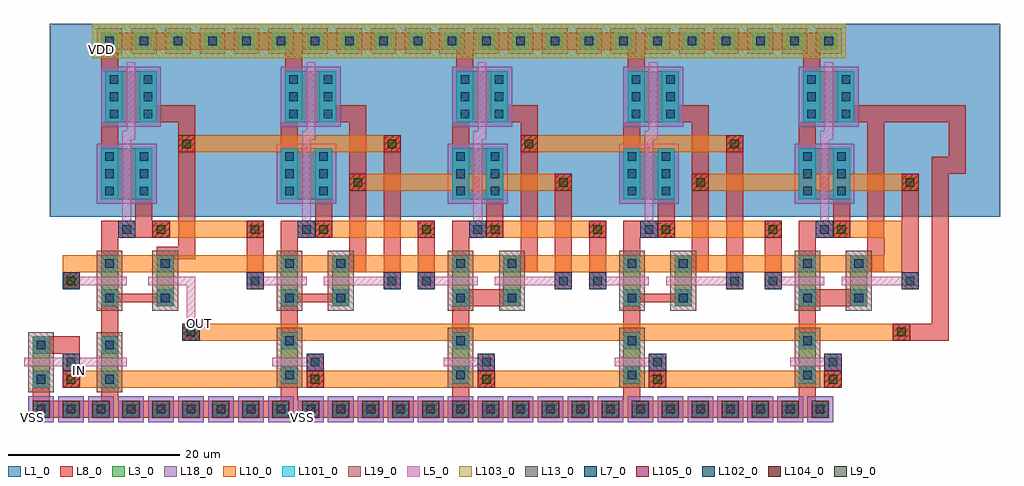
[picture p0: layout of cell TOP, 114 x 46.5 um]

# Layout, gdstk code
from math import pi, radians
import gdstk
lib = gdstk.Library(unit=1e-6, precision=1e-09)
def R(c, l, rs):  # rectangles x0, y0, x1, y1
    for r in rs: c.add(gdstk.rectangle(r[:2], r[2:], *l))
def A(c, l, x, y, w, h, nx, ny, dx, dy):  # array of equal rectangles
    R(c, l, [(x+i*dx, y+j*dy, x+i*dx+w, y+j*dy+h) for i in range(nx) for j in range(ny)])
L1_0 = (1, 0)
L3_0 = (3, 0)
L5_0 = (5, 0)
L7_0 = (7, 0)
L8_0 = (8, 0)
L9_0 = (9, 0)
L10_0 = (10, 0)
L13_0 = (13, 0)
L18_0 = (18, 0)
L19_0 = (19, 0)
L101_0 = (101, 0)
L102_0 = (102, 0)
L103_0 = (103, 0)
L104_0 = (104, 0)
L105_0 = (105, 0)

pcont = lib.new_cell('pcont')
R(pcont, L5_0, [(-1,-1,1,1)])
R(pcont, L7_0, [(-0.5,-0.5,0.5,0.5)])
R(pcont, L8_0, [(-1,-1,1,1)])
R(pcont, L13_0, [(-0.5,-0.5,0.5,0.5)])
R(pcont, L102_0, [(-1,-1,1,1)])
pcont.add(gdstk.Label('pcont', (0,0), layer=13, texttype=0))

via = lib.new_cell('Via')
R(via, L8_0, [(-1,-1,1,1)])
R(via, L9_0, [(-0.5,-0.5,0.5,0.5)])
R(via, L10_0, [(-1,-1,1,1)])
R(via, L13_0, [(-0.5,-0.5,0.5,0.5)])
R(via, L105_0, [(-1,-1,1,1)])
via.add(gdstk.Label('via', (0,0), layer=13, texttype=0))

dcont = lib.new_cell('dcont')
R(dcont, L3_0, [(-1,-1,1,1)])
R(dcont, L7_0, [(-0.5,-0.5,0.5,0.5)])
R(dcont, L8_0, [(-1,-1,1,1)])
R(dcont, L13_0, [(-0.5,-0.5,0.5,0.5)])
R(dcont, L101_0, [(-1,-1,1,1)])
dcont.add(gdstk.Label('dcont', (0,0), layer=13, texttype=0))

nsubcont = lib.new_cell('nsubcont')
R(nsubcont, L1_0, [(-2,-2,2,2)])
R(nsubcont, L19_0, [(-1.5,-1.5,1.5,1.5)])
R(nsubcont, L103_0, [(-2,-2,2,2)])
nsubcont.add(gdstk.Reference(dcont, (0,0)))
nsubcont.add(gdstk.Label('NScont', (0,0), layer=13, texttype=0))

psubcont = lib.new_cell('psubcont')
R(psubcont, L18_0, [(-1.5,-1.5,1.5,1.5)])
R(psubcont, L104_0, [(-1,-1,1,1)])
psubcont.add(gdstk.Reference(dcont, (0,0)))
psubcont.add(gdstk.Label('PScon', (0,0), layer=13, texttype=0))

top = lib.new_cell('TOP')
R(top, L1_0, [(-11,13,100,35.5)])
A(top, L3_0, 16, -4.5, 2, 2, 3, 1, 20, 0)
R(top, L3_0, [(-13,-5,-11,-3), (-5,-5,-3,-3), (76.5,-4.5,78.5,-2.5), (-5,4.5,-3,6.5), (1.5,4.5,3.5,6.5), (16,4.5,18,6.5), (16,4.5,18,6.5), (22,4.5,24,6.5), (22,4.5,24,6.5), (36,4.5,38,6.5), (36,4.5,38,6.5), (42,4.5,44,6.5), (42,4.5,44,6.5), (56,4.5,58,6.5), (56,4.5,58,6.5), (62,4.5,64,6.5), (62,4.5,64,6.5), (76.5,4.5,78.5,6.5), (76.5,4.5,78.5,6.5), (82.5,4.5,84.5,6.5), (82.5,4.5,84.5,6.5), (-5,15,1,21), (16,15,22,21), (16,15,22,21), (36,15,42,21), (36,15,42,21), (56,15,62,21), (56,15,62,21), (76.5,15,82.5,21), (76.5,15,82.5,21), (-4.5,24,1.5,30), (16.5,24,22.5,30), (16.5,24,22.5,30), (36.5,24,42.5,30), (36.5,24,42.5,30), (56.5,24,62.5,30), (56.5,24,62.5,30), (77,24,83,30), (77,24,83,30)])
R(top, L5_0, [(-14,-4.5,-9.5,-3.5), (-7.5,5,-2,6), (13.5,5,19,6), (13.5,5,19,6), (53.5,5,59,6), (53.5,5,59,6)])
A(top, L8_0, 16, -8.5, 2, 2, 3, 1, 20, 0)
A(top, L8_0, 16, -0.5, 2, 3, 3, 1, 20, 0)
A(top, L8_0, 24, 6.5, 2, 17.5, 3, 1, 20, 0)
A(top, L8_0, 20, 12.5, 2, 2.5, 3, 1, 20, 0)
A(top, L8_0, 16.5, 30, 2, 3, 3, 1, 20, 0)
R(top, L8_0, [(-11,-10.5,80,-8.5), (-13,-8.5,-11,-6.5), (76.5,-8.5,78.5,-6.5), (-11,-3,-7.5,-1), (-5,-1,-3,2.5), (76.5,-0.5,78.5,2.5), (38,2.5,42,4.5), (78.5,2.5,82.5,4.5), (-3.5,3,2,4), (17.5,3,23,4), (17.5,3,23,4), (57.5,3,63,4), (57.5,3,63,4), (12,6.5,14,12), (12,6.5,14,12), (24,6.5,26,24), (28,6.5,30,20.5), (28,6.5,30,20.5), (32,6.5,34,10.5), (48,6.5,50,16), (52,6.5,54,12), (52,6.5,54,12), (64,6.5,66,24), (68,6.5,70,20.5), (68,6.5,70,20.5), (72.5,6.5,74.5,10.5), (84.5,6.5,86.5,24), (88.5,6.5,90.5,16), (1.5,8,6,9.5), (-5,8.5,-3,12.5), (16,8.5,18,12.5), (16,8.5,18,12.5), (36,8.5,38,12.5), (36,8.5,38,12.5), (56,8.5,58,12.5), (56,8.5,58,12.5), (76.5,8.5,78.5,12.5), (76.5,8.5,78.5,12.5), (4,9.5,6,24), (-1,10.5,1,12.5), (20,10.5,22,12.5), (20,10.5,22,12.5), (40,10.5,42,12.5), (40,10.5,42,12.5), (60,10.5,62,12.5), (60,10.5,62,12.5), (80.5,10.5,82.5,12.5), (80.5,10.5,82.5,12.5), (-1,12.5,1,15), (20,12.5,22,15), (60,12.5,62,15), (80.5,12.5,82.5,15), (-5,21,-3,24), (16,21,18,24), (16,21,18,24), (36,21,38,24), (36,21,38,24), (56,21,58,24), (56,21,58,24), (76.5,21,78.5,24), (76.5,21,78.5,24), (1.5,24,6,26), (22.5,24,26,26), (22.5,24,26,26), (42.5,24,46,26), (42.5,24,46,26), (62.5,24,66,26), (62.5,24,66,26), (83,24,86.5,26), (83,24,86.5,26), (-5,30,-3,32.5), (77,30,79,33), (-3,32.5,81,34.5)])
R(top, L10_0, [(-7.5,-7,79.5,-5), (3,10.5,14,12.5), (22,10.5,32,12.5), (42,10.5,52,12.5), (62,10.5,72.5,12.5), (26,16,48,18), (66,16,88.5,18), (6,20.5,29.5,22.5), (46,20.5,68,22.5)])
R(top, L18_0, [(-5.5,14.5,1.5,21.5), (15.5,14.5,22.5,21.5), (15.5,14.5,22.5,21.5), (35.5,14.5,42.5,21.5), (35.5,14.5,42.5,21.5), (55.5,14.5,62.5,21.5), (55.5,14.5,62.5,21.5), (76,14.5,83,21.5), (76,14.5,83,21.5), (-5,23.5,2,30.5), (16,23.5,23,30.5), (16,23.5,23,30.5), (36,23.5,43,30.5), (36,23.5,43,30.5), (56,23.5,63,30.5), (56,23.5,63,30.5), (76.5,23.5,83.5,30.5), (76.5,23.5,83.5,30.5)])
A(top, L19_0, 15.5, -7, 3, 7, 3, 1, 20, 0)
R(top, L19_0, [(-13.5,-7.5,-10.5,-0.5), (-5.5,-7.5,-2.5,-0.5), (76,-7,79,0), (-5.5,2,-2.5,9), (1,2,4,9), (15.5,2,18.5,9), (15.5,2,18.5,9), (21.5,2,24.5,9), (21.5,2,24.5,9), (35.5,2,38.5,9), (35.5,2,38.5,9), (41.5,2,44.5,9), (41.5,2,44.5,9), (55.5,2,58.5,9), (55.5,2,58.5,9), (61.5,2,64.5,9), (61.5,2,64.5,9), (76,2,79,9), (76,2,79,9), (82,2,85,9), (82,2,85,9)])
top.add(gdstk.FlexPath([(86.5,25),(95,25),(95,19),(93,19),(93,-0.5),(87.5,-0.5)], 2, ends="flush", simple_path=True, layer=8, datatype=0))  # L8_0
top.add(gdstk.FlexPath([(-4,-6.5),(-4,-10)], 2, ends="flush", simple_path=True, layer=8, datatype=0))  # L8_0
top.add(gdstk.FlexPath([(88.5,7.5),(-8.5,7.5),(-8.5,4.5)], 2, ends="flush", simple_path=True, layer=10, datatype=0))  # L10_0
top.add(gdstk.FlexPath([(87.5,-0.5),(6.5,-0.5)], 2, ends="flush", simple_path=True, layer=10, datatype=0))  # L10_0
top.add(gdstk.FlexPath([(82.5,11.5),(87.5,11.5),(87.5,7.5)], 2, ends="flush", simple_path=True, layer=10, datatype=0))  # L10_0
top.add(gdstk.FlexPath([(0.5,5.5),(4.5,5.5),(4.5,5.5)], 1, ends="flush", simple_path=True, layer=5, datatype=0))  # L5_0
top.add(gdstk.FlexPath([(39.5,31),(39.5,22.5),(39,22.5),(39,22)], 1, ends="flush", simple_path=True, layer=5, datatype=0))  # L5_0
top.add(gdstk.FlexPath([(39.5,31),(39.5,22.5),(39,22.5),(39,22)], 1, ends="flush", simple_path=True, layer=5, datatype=0))  # L5_0
top.add(gdstk.FlexPath([(39,22),(39,12.5),(39,12.5),(39,12.5),(39,12.5)], 1, ends="flush", simple_path=True, layer=5, datatype=0))  # L5_0
top.add(gdstk.FlexPath([(41,5.5),(49,5.5),(49,5.5)], 1, ends="flush", simple_path=True, layer=5, datatype=0))  # L5_0
top.add(gdstk.FlexPath([(41,5.5),(49,5.5),(49,5.5)], 1, ends="flush", simple_path=True, layer=5, datatype=0))  # L5_0
top.add(gdstk.FlexPath([(55,-4),(59,-4),(59,-4)], 1, ends="flush", simple_path=True, layer=5, datatype=0))  # L5_0
top.add(gdstk.FlexPath([(39,5.5),(34.5,5.5),(34,5.5)], 1, ends="flush", simple_path=True, layer=5, datatype=0))  # L5_0
top.add(gdstk.FlexPath([(61,5.5),(69,5.5),(69,5.5)], 1, ends="flush", simple_path=True, layer=5, datatype=0))  # L5_0
top.add(gdstk.FlexPath([(59.5,31),(59.5,22.5),(59,22.5),(59,22)], 1, ends="flush", simple_path=True, layer=5, datatype=0))  # L5_0
top.add(gdstk.FlexPath([(59,22),(59,10.5),(59,10.5)], 1, ends="flush", simple_path=True, layer=5, datatype=0))  # L5_0
top.add(gdstk.FlexPath([(61,5.5),(69,5.5),(69,5.5)], 1, ends="flush", simple_path=True, layer=5, datatype=0))  # L5_0
top.add(gdstk.FlexPath([(59,22),(59,10.5),(59,10.5)], 1, ends="flush", simple_path=True, layer=5, datatype=0))  # L5_0
top.add(gdstk.FlexPath([(59.5,31),(59.5,22.5),(59,22.5),(59,22)], 1, ends="flush", simple_path=True, layer=5, datatype=0))  # L5_0
top.add(gdstk.FlexPath([(80,31),(80,22.5),(79.5,22.5),(79.5,22)], 1, ends="flush", simple_path=True, layer=5, datatype=0))  # L5_0
top.add(gdstk.FlexPath([(80,31),(80,22.5),(79.5,22.5),(79.5,22)], 1, ends="flush", simple_path=True, layer=5, datatype=0))  # L5_0
top.add(gdstk.FlexPath([(79.5,22),(79.5,12.5),(79.5,12.5),(79.5,12.5),(79.5,12.5)], 1, ends="flush", simple_path=True, layer=5, datatype=0))  # L5_0
top.add(gdstk.FlexPath([(81.5,5.5),(89.5,5.5),(89.5,5.5)], 1, ends="flush", simple_path=True, layer=5, datatype=0))  # L5_0
top.add(gdstk.FlexPath([(81.5,5.5),(89.5,5.5),(89.5,5.5)], 1, ends="flush", simple_path=True, layer=5, datatype=0))  # L5_0
top.add(gdstk.FlexPath([(79.5,5.5),(75,5.5),(74.5,5.5)], 1, ends="flush", simple_path=True, layer=5, datatype=0))  # L5_0
top.add(gdstk.FlexPath([(75.5,-4),(79.5,-4),(79.5,-4)], 1, ends="flush", simple_path=True, layer=5, datatype=0))  # L5_0
top.add(gdstk.FlexPath([(4.5,5.5),(5.5,5.5),(5.5,0.5)], 1, ends="flush", simple_path=True, layer=5, datatype=0))  # L5_0
top.add(gdstk.FlexPath([(-8,-4),(-2,-4)], 1, ends="flush", simple_path=True, layer=5, datatype=0))  # L5_0
top.add(gdstk.FlexPath([(15,-4),(19,-4),(19,-4)], 1, ends="flush", simple_path=True, layer=5, datatype=0))  # L5_0
top.add(gdstk.FlexPath([(35,-4),(39,-4),(39,-4)], 1, ends="flush", simple_path=True, layer=5, datatype=0))  # L5_0
top.add(gdstk.FlexPath([(21,5.5),(29,5.5),(29,5.5)], 1, ends="flush", simple_path=True, layer=5, datatype=0))  # L5_0
top.add(gdstk.FlexPath([(19.5,31),(19.5,22.5),(19,22.5),(19,22)], 1, ends="flush", simple_path=True, layer=5, datatype=0))  # L5_0
top.add(gdstk.FlexPath([(19,22),(19,10.5),(19,10.5)], 1, ends="flush", simple_path=True, layer=5, datatype=0))  # L5_0
top.add(gdstk.FlexPath([(21,5.5),(29,5.5),(29,5.5)], 1, ends="flush", simple_path=True, layer=5, datatype=0))  # L5_0
top.add(gdstk.FlexPath([(19,22),(19,10.5),(19,10.5)], 1, ends="flush", simple_path=True, layer=5, datatype=0))  # L5_0
top.add(gdstk.FlexPath([(19.5,31),(19.5,22.5),(19,22.5),(19,22)], 1, ends="flush", simple_path=True, layer=5, datatype=0))  # L5_0
top.add(gdstk.FlexPath([(-1.5,31),(-1.5,22.5),(-2,22.5),(-2,22)], 1, ends="flush", simple_path=True, layer=5, datatype=0))  # L5_0
top.add(gdstk.FlexPath([(-2,22),(-2,10.5),(-2,10.5)], 1, ends="flush", simple_path=True, layer=5, datatype=0))  # L5_0
top.add(gdstk.Reference(pcont, (-2,11.5), rotation=pi))
top.add(gdstk.Reference(via, (2,11.5), rotation=pi))
top.add(gdstk.Reference(via, (13,11.5), rotation=pi))
top.add(gdstk.Reference(pcont, (19,11.5), rotation=pi))
top.add(gdstk.Reference(pcont, (19,11.5), rotation=pi))
top.add(gdstk.Reference(via, (13,11.5), rotation=pi))
top.add(gdstk.Reference(pcont, (39,11.5), rotation=pi))
top.add(gdstk.Reference(pcont, (39,11.5), rotation=pi))
top.add(gdstk.Reference(via, (41,11.5), rotation=pi))
top.add(gdstk.Reference(via, (21,11.5), rotation=pi))
top.add(gdstk.Reference(via, (33,11.5), rotation=pi))
top.add(gdstk.Reference(via, (53,11.5), rotation=pi))
top.add(gdstk.Reference(pcont, (59,11.5), rotation=pi))
top.add(gdstk.Reference(pcont, (59,11.5), rotation=pi))
top.add(gdstk.Reference(via, (53,11.5), rotation=pi))
top.add(gdstk.Reference(via, (61,11.5), rotation=pi))
top.add(gdstk.Reference(pcont, (79.5,11.5), rotation=pi))
top.add(gdstk.Reference(pcont, (79.5,11.5), rotation=pi))
top.add(gdstk.Reference(via, (81.5,11.5), rotation=pi))
top.add(gdstk.Reference(via, (73.5,11.5), rotation=pi))
top.add(gdstk.Reference(nsubcont, (40,33.5), rotation=pi))
top.add(gdstk.Reference(dcont, (41.5,25), rotation=pi))
top.add(gdstk.Reference(dcont, (41.5,27), rotation=pi))
top.add(gdstk.Reference(dcont, (41.5,29), rotation=pi))
top.add(gdstk.Reference(dcont, (41,16), rotation=pi))
top.add(gdstk.Reference(dcont, (41,18), rotation=pi))
top.add(gdstk.Reference(via, (69,21.5), rotation=pi))
top.add(gdstk.Reference(dcont, (61.5,25), rotation=pi))
top.add(gdstk.Reference(dcont, (61.5,27), rotation=pi))
top.add(gdstk.Reference(dcont, (57.5,25), rotation=pi))
top.add(gdstk.Reference(dcont, (57.5,27), rotation=pi))
top.add(gdstk.Reference(dcont, (61.5,29), rotation=pi))
top.add(gdstk.Reference(dcont, (57.5,29), rotation=pi))
top.add(gdstk.Reference(dcont, (41,20), rotation=pi))
top.add(gdstk.Reference(dcont, (61,16), rotation=pi))
top.add(gdstk.Reference(dcont, (61,18), rotation=pi))
top.add(gdstk.Reference(dcont, (57,16), rotation=pi))
top.add(gdstk.Reference(dcont, (57,18), rotation=pi))
top.add(gdstk.Reference(dcont, (61,20), rotation=pi))
top.add(gdstk.Reference(dcont, (57,20), rotation=pi))
top.add(gdstk.Reference(dcont, (57,20), rotation=pi))
top.add(gdstk.Reference(dcont, (61,20), rotation=pi))
top.add(gdstk.Reference(dcont, (57,18), rotation=pi))
top.add(gdstk.Reference(dcont, (57,16), rotation=pi))
top.add(gdstk.Reference(dcont, (61,18), rotation=pi))
top.add(gdstk.Reference(dcont, (61,16), rotation=pi))
top.add(gdstk.Reference(dcont, (41,20), rotation=pi))
top.add(gdstk.Reference(dcont, (57.5,29), rotation=pi))
top.add(gdstk.Reference(dcont, (61.5,29), rotation=pi))
top.add(gdstk.Reference(dcont, (57.5,27), rotation=pi))
top.add(gdstk.Reference(dcont, (57.5,25), rotation=pi))
top.add(gdstk.Reference(dcont, (61.5,27), rotation=pi))
top.add(gdstk.Reference(dcont, (61.5,25), rotation=pi))
top.add(gdstk.Reference(via, (69,21.5), rotation=pi))
top.add(gdstk.Reference(dcont, (41,18), rotation=pi))
top.add(gdstk.Reference(dcont, (41,16), rotation=pi))
top.add(gdstk.Reference(via, (65,17), rotation=pi))
top.add(gdstk.Reference(via, (45,21.5), rotation=pi))
top.add(gdstk.Reference(via, (89.5,17), rotation=pi))
top.add(gdstk.Reference(dcont, (82,25), rotation=pi))
top.add(gdstk.Reference(dcont, (82,27), rotation=pi))
top.add(gdstk.Reference(dcont, (78,25), rotation=pi))
top.add(gdstk.Reference(dcont, (78,27), rotation=pi))
top.add(gdstk.Reference(dcont, (82,29), rotation=pi))
top.add(gdstk.Reference(dcont, (78,29), rotation=pi))
top.add(gdstk.Reference(dcont, (81.5,16), rotation=pi))
top.add(gdstk.Reference(dcont, (81.5,18), rotation=pi))
top.add(gdstk.Reference(dcont, (77.5,16), rotation=pi))
top.add(gdstk.Reference(dcont, (77.5,18), rotation=pi))
top.add(gdstk.Reference(dcont, (81.5,20), rotation=pi))
top.add(gdstk.Reference(dcont, (77.5,20), rotation=pi))
top.add(gdstk.Reference(dcont, (77.5,20), rotation=pi))
top.add(gdstk.Reference(dcont, (81.5,20), rotation=pi))
top.add(gdstk.Reference(dcont, (77.5,18), rotation=pi))
top.add(gdstk.Reference(dcont, (77.5,16), rotation=pi))
top.add(gdstk.Reference(dcont, (81.5,18), rotation=pi))
top.add(gdstk.Reference(dcont, (81.5,16), rotation=pi))
top.add(gdstk.Reference(dcont, (78,29), rotation=pi))
top.add(gdstk.Reference(dcont, (82,29), rotation=pi))
top.add(gdstk.Reference(dcont, (78,27), rotation=pi))
top.add(gdstk.Reference(dcont, (78,25), rotation=pi))
top.add(gdstk.Reference(dcont, (82,27), rotation=pi))
top.add(gdstk.Reference(dcont, (82,25), rotation=pi))
top.add(gdstk.Reference(via, (89.5,17), rotation=pi))
top.add(gdstk.Reference(dcont, (41.5,29), rotation=pi))
top.add(gdstk.Reference(dcont, (41.5,27), rotation=pi))
top.add(gdstk.Reference(dcont, (41.5,25), rotation=pi))
top.add(gdstk.Reference(via, (49,17), rotation=pi))
top.add(gdstk.Reference(via, (49,17), rotation=pi))
top.add(gdstk.Reference(nsubcont, (44,33.5), rotation=pi))
top.add(gdstk.Reference(nsubcont, (48,33.5), rotation=pi))
top.add(gdstk.Reference(nsubcont, (52,33.5), rotation=pi))
top.add(gdstk.Reference(nsubcont, (56,33.5), rotation=pi))
top.add(gdstk.Reference(nsubcont, (60,33.5), rotation=pi))
top.add(gdstk.Reference(nsubcont, (64,33.5), rotation=pi))
top.add(gdstk.Reference(nsubcont, (68,33.5), rotation=pi))
top.add(gdstk.Reference(nsubcont, (72,33.5), rotation=pi))
top.add(gdstk.Reference(nsubcont, (76,33.5), rotation=pi))
top.add(gdstk.Reference(nsubcont, (80,33.5), rotation=pi))
top.add(gdstk.Reference(dcont, (0,16), rotation=pi))
top.add(gdstk.Reference(nsubcont, (0,33.5), rotation=pi))
top.add(gdstk.Reference(nsubcont, (-4,33.5), rotation=pi))
top.add(gdstk.Reference(dcont, (-4,20), rotation=pi))
top.add(gdstk.Reference(dcont, (-3.5,29), rotation=pi))
top.add(gdstk.Reference(dcont, (37.5,25), rotation=pi))
top.add(gdstk.Reference(dcont, (37.5,27), rotation=pi))
top.add(gdstk.Reference(dcont, (0.5,29), rotation=pi))
top.add(gdstk.Reference(dcont, (37.5,29), rotation=pi))
top.add(gdstk.Reference(dcont, (-3.5,27), rotation=pi))
top.add(gdstk.Reference(dcont, (-3.5,25), rotation=pi))
top.add(gdstk.Reference(dcont, (37,16), rotation=pi))
top.add(gdstk.Reference(dcont, (37,18), rotation=pi))
top.add(gdstk.Reference(dcont, (0.5,27), rotation=pi))
top.add(gdstk.Reference(dcont, (37,20), rotation=pi))
top.add(gdstk.Reference(dcont, (37,20), rotation=pi))
top.add(gdstk.Reference(dcont, (0.5,25), rotation=pi))
top.add(gdstk.Reference(dcont, (37,18), rotation=pi))
top.add(gdstk.Reference(dcont, (37,16), rotation=pi))
top.add(gdstk.Reference(via, (5,21.5), rotation=pi))
top.add(gdstk.Reference(dcont, (0,20), rotation=pi))
top.add(gdstk.Reference(dcont, (37.5,29), rotation=pi))
top.add(gdstk.Reference(dcont, (-4,18), rotation=pi))
top.add(gdstk.Reference(dcont, (37.5,27), rotation=pi))
top.add(gdstk.Reference(dcont, (37.5,25), rotation=pi))
top.add(gdstk.Reference(via, (29,21.5), rotation=pi))
top.add(gdstk.Reference(dcont, (21.5,25), rotation=pi))
top.add(gdstk.Reference(dcont, (21.5,27), rotation=pi))
top.add(gdstk.Reference(dcont, (17.5,25), rotation=pi))
top.add(gdstk.Reference(dcont, (17.5,27), rotation=pi))
top.add(gdstk.Reference(dcont, (21.5,29), rotation=pi))
top.add(gdstk.Reference(dcont, (17.5,29), rotation=pi))
top.add(gdstk.Reference(dcont, (-4,16), rotation=pi))
top.add(gdstk.Reference(via, (25,17), rotation=pi))
top.add(gdstk.Reference(dcont, (21,16), rotation=pi))
top.add(gdstk.Reference(dcont, (21,18), rotation=pi))
top.add(gdstk.Reference(dcont, (17,16), rotation=pi))
top.add(gdstk.Reference(dcont, (17,18), rotation=pi))
top.add(gdstk.Reference(dcont, (21,20), rotation=pi))
top.add(gdstk.Reference(dcont, (17,20), rotation=pi))
top.add(gdstk.Reference(dcont, (17,20), rotation=pi))
top.add(gdstk.Reference(dcont, (21,20), rotation=pi))
top.add(gdstk.Reference(dcont, (17,18), rotation=pi))
top.add(gdstk.Reference(nsubcont, (4,33.5), rotation=pi))
top.add(gdstk.Reference(nsubcont, (8,33.5), rotation=pi))
top.add(gdstk.Reference(nsubcont, (12,33.5), rotation=pi))
top.add(gdstk.Reference(nsubcont, (16,33.5), rotation=pi))
top.add(gdstk.Reference(nsubcont, (20,33.5), rotation=pi))
top.add(gdstk.Reference(nsubcont, (24,33.5), rotation=pi))
top.add(gdstk.Reference(nsubcont, (28,33.5), rotation=pi))
top.add(gdstk.Reference(nsubcont, (32,33.5), rotation=pi))
top.add(gdstk.Reference(nsubcont, (36,33.5), rotation=pi))
top.add(gdstk.Reference(dcont, (17,16), rotation=pi))
top.add(gdstk.Reference(dcont, (21,18), rotation=pi))
top.add(gdstk.Reference(dcont, (21,16), rotation=pi))
top.add(gdstk.Reference(dcont, (0,18), rotation=pi))
top.add(gdstk.Reference(dcont, (17.5,29), rotation=pi))
top.add(gdstk.Reference(dcont, (21.5,29), rotation=pi))
top.add(gdstk.Reference(dcont, (17.5,27), rotation=pi))
top.add(gdstk.Reference(dcont, (17.5,25), rotation=pi))
top.add(gdstk.Reference(dcont, (21.5,27), rotation=pi))
top.add(gdstk.Reference(dcont, (21.5,25), rotation=pi))
top.add(gdstk.Reference(via, (29,21.5), rotation=pi))
top.add(gdstk.Reference(dcont, (37,-1.5), rotation=pi))
top.add(gdstk.Reference(dcont, (-12,-6), rotation=pi))
top.add(gdstk.Reference(dcont, (-12,-2), rotation=pi))
top.add(gdstk.Reference(pcont, (29,5.5), rotation=pi))
top.add(gdstk.Reference(pcont, (-8.5,-4), rotation=pi))
top.add(gdstk.Reference(pcont, (13,5.5), rotation=pi))
top.add(gdstk.Reference(dcont, (23,3.5), rotation=pi))
top.add(gdstk.Reference(dcont, (23,7.5), rotation=pi))
top.add(gdstk.Reference(dcont, (17,3.5), rotation=pi))
top.add(gdstk.Reference(dcont, (17,7.5), rotation=pi))
top.add(gdstk.Reference(dcont, (-4,7.5), rotation=pi))
top.add(gdstk.Reference(dcont, (-4,3.5), rotation=pi))
top.add(gdstk.Reference(via, (5.5,-0.5), rotation=pi))
top.add(gdstk.Reference(dcont, (17,7.5), rotation=pi))
top.add(gdstk.Reference(dcont, (17,3.5), rotation=pi))
top.add(gdstk.Reference(dcont, (23,7.5), rotation=pi))
top.add(gdstk.Reference(dcont, (23,3.5), rotation=pi))
top.add(gdstk.Reference(pcont, (13,5.5), rotation=pi))
top.add(gdstk.Reference(dcont, (2.5,7.5), rotation=pi))
top.add(gdstk.Reference(pcont, (29,5.5), rotation=pi))
top.add(gdstk.Reference(dcont, (2.5,3.5), rotation=pi))
top.add(gdstk.Reference(via, (20,-6), rotation=pi))
top.add(gdstk.Reference(dcont, (37,7.5), rotation=pi))
top.add(gdstk.Reference(dcont, (37,3.5), rotation=pi))
top.add(gdstk.Reference(pcont, (33,5.5), rotation=pi))
top.add(gdstk.Reference(pcont, (5.5,-0.5), rotation=pi))
top.add(gdstk.Reference(pcont, (-8.5,5.5), rotation=pi))
top.add(gdstk.Reference(via, (-8.5,5.5), rotation=pi))
top.add(gdstk.Reference(dcont, (-4,-6), rotation=pi))
top.add(gdstk.Reference(dcont, (-4,-2), rotation=pi))
top.add(gdstk.Reference(dcont, (17,-5.5), rotation=pi))
top.add(gdstk.Reference(dcont, (17,-1.5), rotation=pi))
top.add(gdstk.Reference(dcont, (37,3.5), rotation=pi))
top.add(gdstk.Reference(dcont, (37,7.5), rotation=pi))
top.add(gdstk.Reference(pcont, (20,-4), rotation=pi))
top.add(gdstk.Reference(via, (-8.5,-6), rotation=pi))
top.add(gdstk.Reference(dcont, (37,-5.5), rotation=pi))
top.add(gdstk.Reference(psubcont, (16,-9.5), rotation=pi))
top.add(gdstk.Reference(psubcont, (12.5,-9.5), rotation=pi))
top.add(gdstk.Reference(psubcont, (9,-9.5), rotation=pi))
top.add(gdstk.Reference(psubcont, (5.5,-9.5), rotation=pi))
top.add(gdstk.Reference(psubcont, (2,-9.5), rotation=pi))
top.add(gdstk.Reference(psubcont, (-1.5,-9.5), rotation=pi))
top.add(gdstk.Reference(psubcont, (-5,-9.5), rotation=pi))
top.add(gdstk.Reference(psubcont, (-8.5,-9.5), rotation=pi))
top.add(gdstk.Reference(psubcont, (-12,-9.5), rotation=pi))
top.add(gdstk.Reference(psubcont, (37,-9.5), rotation=pi))
top.add(gdstk.Reference(psubcont, (33.5,-9.5), rotation=pi))
top.add(gdstk.Reference(psubcont, (30,-9.5), rotation=pi))
top.add(gdstk.Reference(psubcont, (26.5,-9.5), rotation=pi))
top.add(gdstk.Reference(psubcont, (23,-9.5), rotation=pi))
top.add(gdstk.Reference(psubcont, (19.5,-9.5), rotation=pi))
top.add(gdstk.Reference(dcont, (83.5,3.5), rotation=pi))
top.add(gdstk.Reference(pcont, (89.5,5.5), rotation=pi))
top.add(gdstk.Reference(pcont, (73.5,5.5), rotation=pi))
top.add(gdstk.Reference(dcont, (57,3.5), rotation=pi))
top.add(gdstk.Reference(via, (88.5,-0.5), rotation=pi))
top.add(gdstk.Reference(dcont, (57,7.5), rotation=pi))
top.add(gdstk.Reference(dcont, (43,3.5), rotation=pi))
top.add(gdstk.Reference(dcont, (77.5,3.5), rotation=pi))
top.add(gdstk.Reference(dcont, (77.5,7.5), rotation=pi))
top.add(gdstk.Reference(pcont, (49,5.5), rotation=pi))
top.add(gdstk.Reference(pcont, (49,5.5), rotation=pi))
top.add(gdstk.Reference(via, (40,-6), rotation=pi))
top.add(gdstk.Reference(pcont, (40,-4), rotation=pi))
top.add(gdstk.Reference(dcont, (43,3.5), rotation=pi))
top.add(gdstk.Reference(dcont, (57,-5.5), rotation=pi))
top.add(gdstk.Reference(dcont, (57,-1.5), rotation=pi))
top.add(gdstk.Reference(pcont, (60,-4), rotation=pi))
top.add(gdstk.Reference(dcont, (57,7.5), rotation=pi))
top.add(gdstk.Reference(dcont, (57,3.5), rotation=pi))
top.add(gdstk.Reference(dcont, (63,7.5), rotation=pi))
top.add(gdstk.Reference(dcont, (63,3.5), rotation=pi))
top.add(gdstk.Reference(pcont, (53,5.5), rotation=pi))
top.add(gdstk.Reference(dcont, (43,7.5), rotation=pi))
top.add(gdstk.Reference(pcont, (69,5.5), rotation=pi))
top.add(gdstk.Reference(pcont, (69,5.5), rotation=pi))
top.add(gdstk.Reference(via, (60,-6), rotation=pi))
top.add(gdstk.Reference(dcont, (43,7.5), rotation=pi))
top.add(gdstk.Reference(pcont, (53,5.5), rotation=pi))
top.add(gdstk.Reference(dcont, (63,3.5), rotation=pi))
top.add(gdstk.Reference(dcont, (77.5,-5.5), rotation=pi))
top.add(gdstk.Reference(dcont, (77.5,-1.5), rotation=pi))
top.add(gdstk.Reference(pcont, (80.5,-4), rotation=pi))
top.add(gdstk.Reference(via, (80.5,-6), rotation=pi))
top.add(gdstk.Reference(dcont, (63,7.5), rotation=pi))
top.add(gdstk.Reference(psubcont, (47.5,-9.5), rotation=pi))
top.add(gdstk.Reference(psubcont, (44,-9.5), rotation=pi))
top.add(gdstk.Reference(psubcont, (40.5,-9.5), rotation=pi))
top.add(gdstk.Reference(pcont, (89.5,5.5), rotation=pi))
top.add(gdstk.Reference(dcont, (77.5,7.5), rotation=pi))
top.add(gdstk.Reference(dcont, (77.5,3.5), rotation=pi))
top.add(gdstk.Reference(dcont, (83.5,3.5), rotation=pi))
top.add(gdstk.Reference(dcont, (83.5,7.5), rotation=pi))
top.add(gdstk.Reference(dcont, (83.5,7.5), rotation=pi))
top.add(gdstk.Reference(psubcont, (58,-9.5), rotation=pi))
top.add(gdstk.Reference(psubcont, (54.5,-9.5), rotation=pi))
top.add(gdstk.Reference(psubcont, (51,-9.5), rotation=pi))
top.add(gdstk.Reference(psubcont, (68.5,-9.5), rotation=pi))
top.add(gdstk.Reference(psubcont, (65,-9.5), rotation=pi))
top.add(gdstk.Reference(psubcont, (61.5,-9.5), rotation=pi))
top.add(gdstk.Reference(psubcont, (79,-9.5), rotation=pi))
top.add(gdstk.Reference(psubcont, (75.5,-9.5), rotation=pi))
top.add(gdstk.Reference(psubcont, (72,-9.5), rotation=pi))
top.add(gdstk.Label('VSS', (18.5,-10.5), layer=8, texttype=0))
top.add(gdstk.Label('VDD', (-5,32.5), layer=8, texttype=0))
top.add(gdstk.Label('VSS', (-13,-10.5), layer=8, texttype=0))
top.add(gdstk.Label('IN', (-7.5,-5), layer=10, texttype=0))
top.add(gdstk.Label('OUT', (6.5,0.5), layer=10, texttype=0))

lib.write_gds('TOP.gds')
